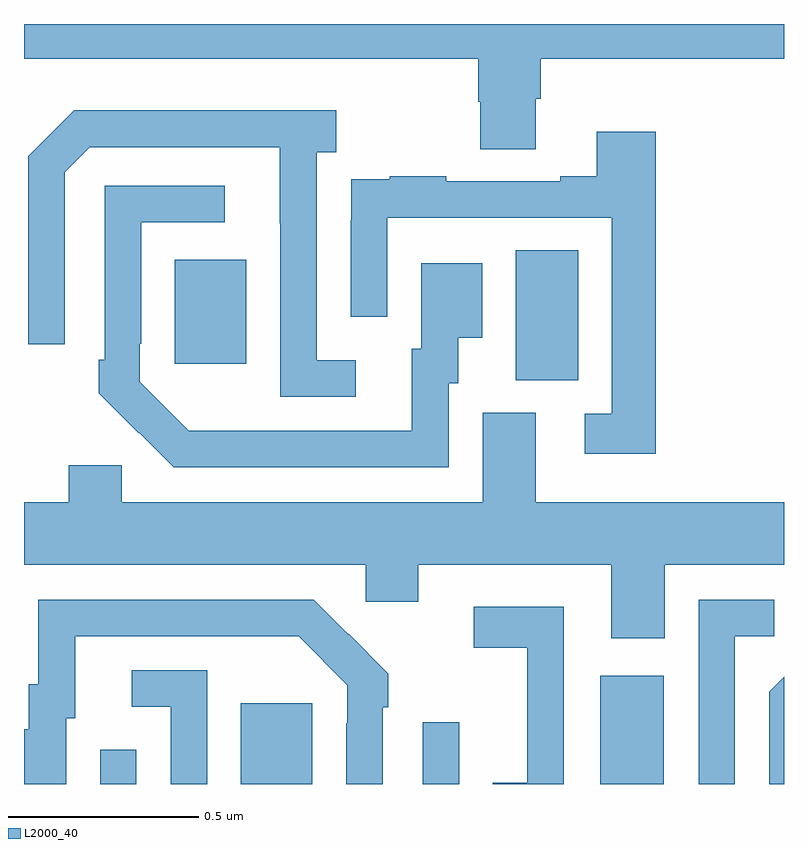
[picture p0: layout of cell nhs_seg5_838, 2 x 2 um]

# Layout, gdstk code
import gdstk
lib = gdstk.Library(unit=1e-6, precision=1e-09)
def R(c, l, rs):  # rectangles x0, y0, x1, y1
    for r in rs: c.add(gdstk.rectangle(r[:2], r[2:], *l))
def P(c, l, *ps):  # polygons
    for p in ps: c.add(gdstk.Polygon(p, *l))
L2000_40 = (2000, 40)

nhs_seg5_838 = lib.new_cell('nhs_seg5_838')
R(nhs_seg5_838, L2000_40, [(121.2,906.799,121.296,906.889), (121.571,906.799,121.759,907.012), (122.049,906.799,122.145,906.961), (122.516,906.799,122.683,907.084), (122.294,907.861,122.458,908.204), (121.397,907.905,121.585,908.179)])
P(nhs_seg5_838, L2000_40, [(122.347,908.602),(122.36,908.602),(122.36,908.708),(123,908.708),(123,908.799),(121,908.799),(121,908.708),(122.195,908.708),(122.195,908.595),(122.2,908.595),(122.2,908.47),(122.347,908.47)],
  [(121.873,907.914),(121.77,907.914),(121.77,908.462),(121.822,908.462),(121.822,908.572),(121.132,908.572),(121.011,908.451),(121.011,907.956),(121.107,907.956),(121.107,908.409),(121.173,908.475),(121.673,908.475),(121.673,908.275),(121.674,908.275),(121.674,907.818),(121.873,907.818)],
  [(122.663,908.515),(122.507,908.515),(122.507,908.398),(122.411,908.398),(122.411,908.385),(122.111,908.385),(122.111,908.398),(121.963,908.398),(121.963,908.391),(121.861,908.391),(121.861,908.282),(121.86,908.282),(121.86,908.028),(121.956,908.028),(121.956,908.289),(122.547,908.289),(122.547,907.773),(122.475,907.773),(122.475,907.668),(122.663,907.668)],
  [(122.118,907.854),(122.143,907.854),(122.143,907.973),(122.206,907.973),(122.206,908.17),(122.045,908.17),(122.045,907.944),(122.021,907.944),(122.021,907.728),(121.537,907.728),(121.537,907.729),(121.434,907.729),(121.305,907.857),(121.305,907.957),(121.308,907.957),(121.308,908.277),(121.528,908.277),(121.528,908.373),(121.212,908.373),(121.212,907.915),(121.197,907.915),(121.197,907.827),(121.302,907.722),(121.303,907.723),(121.394,907.632),(122.118,907.632)],
  [(122.686,907.376),(123,907.376),(123,907.54),(122.347,907.54),(122.347,907.776),(122.207,907.776),(122.207,907.54),(121.257,907.54),(121.257,907.638),(121.118,907.638),(121.118,907.54),(121,907.54),(121,907.376),(121.899,907.376),(121.899,907.278),(122.038,907.278),(122.038,907.376),(122.546,907.376),(122.546,907.182),(122.686,907.182)],
  [(121.111,906.972),(121.135,906.972),(121.135,907.188),(121.723,907.188),(121.851,907.059),(121.851,906.959),(121.848,906.959),(121.848,906.799),(121.944,906.799),(121.944,907.001),(121.959,907.001),(121.959,907.089),(121.854,907.194),(121.853,907.193),(121.762,907.284),(121.038,907.284),(121.038,907.062),(121.013,907.062),(121.013,906.943),(121,906.943),(121,906.799),(121.111,906.799)],
  [(122.871,907.188),(122.974,907.188),(122.974,907.284),(122.775,907.284),(122.775,906.799),(122.871,906.799)],
  [(122.421,907.266),(122.184,907.266),(122.184,907.158),(122.324,907.158),(122.324,906.802),(122.234,906.802),(122.234,906.799),(122.421,906.799)],
  [(121.482,907.098),(121.284,907.098),(121.284,907.002),(121.386,907.002),(121.386,906.799),(121.482,906.799)],
  [(123,907.081),(122.961,907.042),(122.961,906.799),(123,906.799)])

lib.write_gds('nhs_seg5_838.gds')
